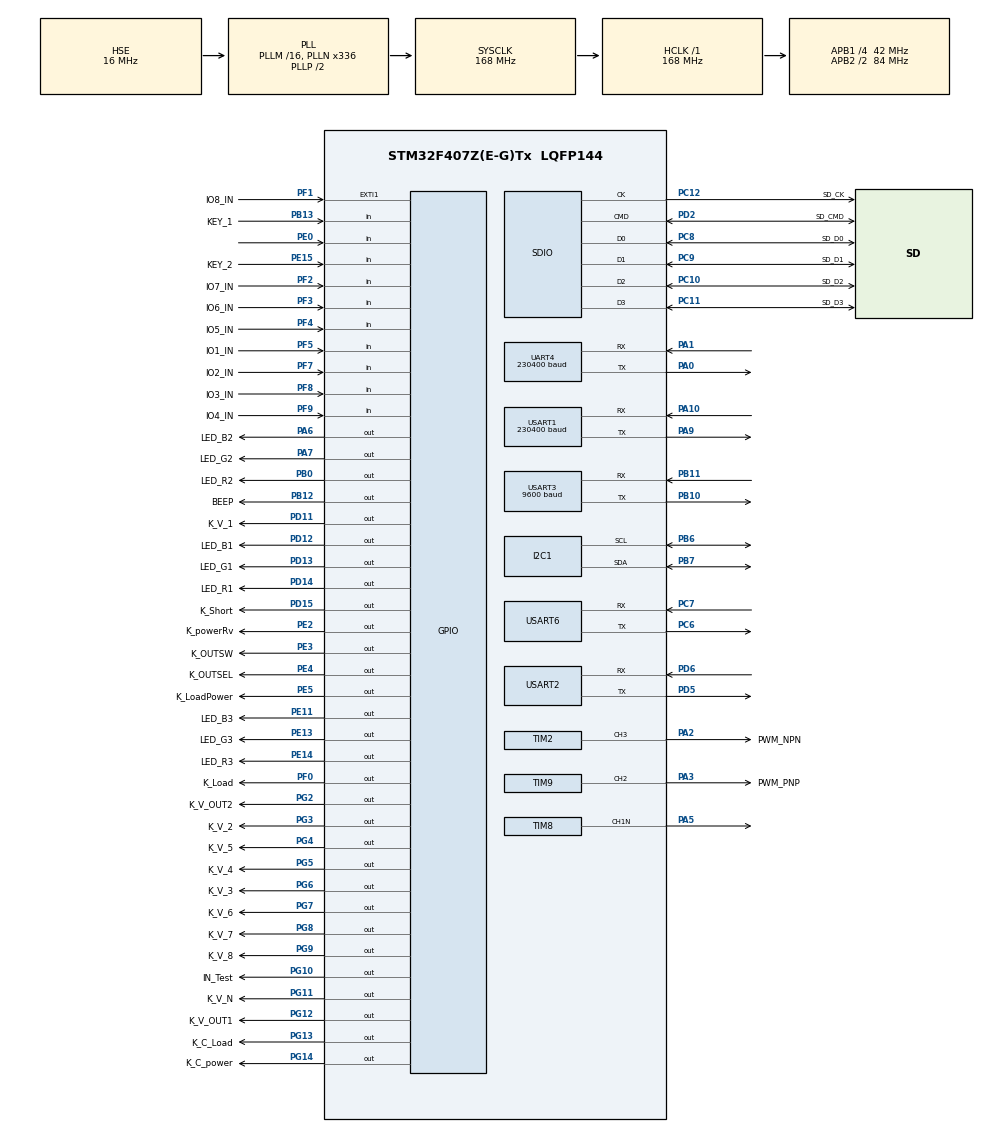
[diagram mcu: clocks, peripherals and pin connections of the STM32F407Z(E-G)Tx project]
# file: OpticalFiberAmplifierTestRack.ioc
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Dma.I2C1_RX.2.Direction=DMA_PERIPH_TO_MEMORY
Dma.I2C1_RX.2.FIFOMode=DMA_FIFOMODE_DISABLE
Dma.I2C1_RX.2.Instance=DMA1_Stream0
Dma.I2C1_RX.2.MemDataAlignment=DMA_MDATAALIGN_BYTE
Dma.I2C1_RX.2.MemInc=DMA_MINC_ENABLE
Dma.I2C1_RX.2.Mode=DMA_NORMAL
Dma.I2C1_RX.2.PeriphDataAlignment=DMA_PDATAALIGN_BYTE
Dma.I2C1_RX.2.PeriphInc=DMA_PINC_DISABLE
Dma.I2C1_RX.2.Priority=DMA_PRIORITY_LOW
Dma.I2C1_TX.3.Direction=DMA_MEMORY_TO_PERIPH
Dma.I2C1_TX.3.FIFOMode=DMA_FIFOMODE_DISABLE
Dma.I2C1_TX.3.Instance=DMA1_Stream7
Dma.I2C1_TX.3.MemDataAlignment=DMA_MDATAALIGN_BYTE
Dma.I2C1_TX.3.MemInc=DMA_MINC_ENABLE
Dma.I2C1_TX.3.Mode=DMA_NORMAL
Dma.I2C1_TX.3.PeriphDataAlignment=DMA_PDATAALIGN_BYTE
Dma.I2C1_TX.3.PeriphInc=DMA_PINC_DISABLE
Dma.I2C1_TX.3.Priority=DMA_PRIORITY_LOW
Dma.Request0=USART1_RX
Dma.Request1=USART1_TX
Dma.Request2=I2C1_RX
Dma.Request3=I2C1_TX
Dma.Request4=UART4_RX
Dma.Request5=UART4_TX
Dma.Request6=SDIO_RX
Dma.Request7=SDIO_TX
Dma.SDIO_RX.6.Direction=DMA_PERIPH_TO_MEMORY
Dma.SDIO_RX.6.FIFOMode=DMA_FIFOMODE_ENABLE
Dma.SDIO_RX.6.FIFOThreshold=DMA_FIFO_THRESHOLD_FULL
Dma.SDIO_RX.6.Instance=DMA2_Stream3
Dma.SDIO_RX.6.MemBurst=DMA_MBURST_INC4
Dma.SDIO_RX.6.MemDataAlignment=DMA_MDATAALIGN_WORD
Dma.SDIO_RX.6.MemInc=DMA_MINC_ENABLE
Dma.SDIO_RX.6.Mode=DMA_PFCTRL
Dma.SDIO_RX.6.PeriphBurst=DMA_PBURST_INC4
Dma.SDIO_RX.6.PeriphDataAlignment=DMA_PDATAALIGN_WORD
Dma.SDIO_RX.6.PeriphInc=DMA_PINC_DISABLE
Dma.SDIO_RX.6.Priority=DMA_PRIORITY_VERY_HIGH
Dma.SDIO_TX.7.Direction=DMA_MEMORY_TO_PERIPH
Dma.SDIO_TX.7.FIFOMode=DMA_FIFOMODE_ENABLE
Dma.SDIO_TX.7.FIFOThreshold=DMA_FIFO_THRESHOLD_FULL
Dma.SDIO_TX.7.Instance=DMA2_Stream6
Dma.SDIO_TX.7.MemBurst=DMA_MBURST_INC4
Dma.SDIO_TX.7.MemDataAlignment=DMA_MDATAALIGN_WORD
Dma.SDIO_TX.7.MemInc=DMA_MINC_ENABLE
Dma.SDIO_TX.7.Mode=DMA_PFCTRL
Dma.SDIO_TX.7.PeriphBurst=DMA_PBURST_INC4
Dma.SDIO_TX.7.PeriphDataAlignment=DMA_PDATAALIGN_WORD
Dma.SDIO_TX.7.PeriphInc=DMA_PINC_DISABLE
Dma.SDIO_TX.7.Priority=DMA_PRIORITY_VERY_HIGH
Dma.UART4_RX.4.Direction=DMA_PERIPH_TO_MEMORY
Dma.UART4_RX.4.FIFOMode=DMA_FIFOMODE_DISABLE
Dma.UART4_RX.4.Instance=DMA1_Stream2
Dma.UART4_RX.4.MemDataAlignment=DMA_MDATAALIGN_BYTE
Dma.UART4_RX.4.MemInc=DMA_MINC_ENABLE
Dma.UART4_RX.4.Mode=DMA_CIRCULAR
Dma.UART4_RX.4.PeriphDataAlignment=DMA_PDATAALIGN_BYTE
Dma.UART4_RX.4.PeriphInc=DMA_PINC_DISABLE
Dma.UART4_RX.4.Priority=DMA_PRIORITY_LOW
Dma.UART4_TX.5.Direction=DMA_MEMORY_TO_PERIPH
Dma.UART4_TX.5.FIFOMode=DMA_FIFOMODE_DISABLE
Dma.UART4_TX.5.Instance=DMA1_Stream4
Dma.UART4_TX.5.MemDataAlignment=DMA_MDATAALIGN_BYTE
Dma.UART4_TX.5.MemInc=DMA_MINC_ENABLE
Dma.UART4_TX.5.Mode=DMA_CIRCULAR
Dma.UART4_TX.5.PeriphDataAlignment=DMA_PDATAALIGN_BYTE
Dma.UART4_TX.5.PeriphInc=DMA_PINC_DISABLE
Dma.UART4_TX.5.Priority=DMA_PRIORITY_LOW
Dma.USART1_RX.0.Direction=DMA_PERIPH_TO_MEMORY
Dma.USART1_RX.0.FIFOMode=DMA_FIFOMODE_DISABLE
Dma.USART1_RX.0.Instance=DMA2_Stream2
Dma.USART1_RX.0.MemDataAlignment=DMA_MDATAALIGN_BYTE
Dma.USART1_RX.0.MemInc=DMA_MINC_ENABLE
Dma.USART1_RX.0.Mode=DMA_CIRCULAR
Dma.USART1_RX.0.PeriphDataAlignment=DMA_PDATAALIGN_BYTE
Dma.USART1_RX.0.PeriphInc=DMA_PINC_DISABLE
Dma.USART1_RX.0.Priority=DMA_PRIORITY_MEDIUM
Dma.USART1_TX.1.Direction=DMA_MEMORY_TO_PERIPH
Dma.USART1_TX.1.FIFOMode=DMA_FIFOMODE_DISABLE
Dma.USART1_TX.1.Instance=DMA2_Stream7
Dma.USART1_TX.1.MemDataAlignment=DMA_MDATAALIGN_BYTE
Dma.USART1_TX.1.MemInc=DMA_MINC_ENABLE
Dma.USART1_TX.1.Mode=DMA_CIRCULAR
Dma.USART1_TX.1.PeriphDataAlignment=DMA_PDATAALIGN_BYTE
Dma.USART1_TX.1.PeriphInc=DMA_PINC_DISABLE
Dma.USART1_TX.1.Priority=DMA_PRIORITY_MEDIUM
FATFS.BSP.number=1
FATFS._CODE_PAGE=936
FATFS0.BSP.STBoard=false
FATFS0.BSP.api=Unknown
FATFS0.BSP.i2caddr=0
FATFS0.BSP.instance=PE0
FATFS0.BSP.ip=GPIO
FATFS0.BSP.mode=Input
FATFS0.BSP.name=Detect_SDIO
FATFS0.BSP.solution=PE0
I2C1.I2C_Mode=I2C_Standard
Mcu.Family=STM32F4
Mcu.Name=STM32F407Z(E-G)Tx
Mcu.Package=LQFP144
NVIC.DMA1_Stream0_IRQn=true\:0\:0\:false\:false\:true\:false\:true\:true
NVIC.DMA1_Stream2_IRQn=true\:0\:0\:false\:false\:true\:false\:true\:true
NVIC.DMA1_Stream4_IRQn=true\:0\:0\:false\:false\:true\:false\:true\:true
NVIC.DMA1_Stream7_IRQn=true\:0\:0\:false\:false\:true\:false\:true\:true
NVIC.DMA2_Stream2_IRQn=true\:0\:0\:false\:false\:true\:false\:true\:true
NVIC.DMA2_Stream3_IRQn=true\:2\:0\:true\:false\:true\:false\:true\:true
NVIC.DMA2_Stream6_IRQn=true\:2\:0\:true\:false\:true\:false\:true\:true
NVIC.DMA2_Stream7_IRQn=true\:0\:0\:false\:false\:true\:false\:true\:true
NVIC.I2C1_ER_IRQn=true\:0\:0\:false\:false\:true\:true\:true\:true
NVIC.I2C1_EV_IRQn=true\:0\:0\:false\:false\:true\:true\:true\:true
NVIC.PriorityGroup=NVIC_PRIORITYGROUP_4
NVIC.SDIO_IRQn=true\:1\:0\:true\:false\:true\:true\:true\:true
NVIC.TIM1_BRK_TIM9_IRQn=true\:0\:0\:false\:false\:true\:true\:true\:true
NVIC.TIM2_IRQn=true\:0\:0\:false\:false\:true\:true\:true\:true
NVIC.TIM4_IRQn=true\:0\:0\:false\:false\:true\:true\:true\:true
NVIC.UART4_IRQn=true\:0\:0\:false\:false\:true\:true\:true\:true
NVIC.USART1_IRQn=true\:0\:0\:false\:false\:true\:true\:true\:true
NVIC.USART2_IRQn=true\:0\:0\:false\:false\:true\:true\:true\:true
NVIC.USART3_IRQn=true\:0\:0\:false\:false\:true\:true\:true\:true
NVIC.USART6_IRQn=true\:0\:0\:false\:false\:true\:true\:true\:true
PA0-WKUP.Mode=Asynchronous
PA0-WKUP.Signal=UART4_TX
PA1.Mode=Asynchronous
PA1.Signal=UART4_RX
PA10.Mode=Asynchronous
PA10.Signal=USART1_RX
PA13.Mode=Serial_Wire
PA13.Signal=SYS_JTMS-SWDIO
PA14.Mode=Serial_Wire
PA14.Signal=SYS_JTCK-SWCLK
PA2.GPIO_Label=PWM_NPN
PA2.Signal=S_TIM2_CH3
PA3.GPIO_Label=PWM_PNP
PA3.Signal=S_TIM9_CH2
PA5.Mode=PWM Generation1 CH1N
PA5.Signal=TIM8_CH1N
PA6.GPIO_Label=LED_B2
PA6.Signal=GPIO_Output
PA7.GPIO_Label=LED_G2
PA7.Signal=GPIO_Output
PA9.Mode=Asynchronous
PA9.Signal=USART1_TX
PB0.GPIO_Label=LED_R2
PB0.Signal=GPIO_Output
PB10.Mode=Asynchronous
PB10.Signal=USART3_TX
PB11.Mode=Asynchronous
PB11.Signal=USART3_RX
PB12.GPIO_Label=BEEP
PB12.Signal=GPIO_Output
PB13.GPIO_Label=KEY_1
PB13.GPIO_PuPd=GPIO_PULLUP
PB13.Signal=GPIO_Input
PB6.Mode=I2C
PB6.Signal=I2C1_SCL
PB7.Mode=I2C
PB7.Signal=I2C1_SDA
PC10.GPIO_Label=SD_D2
PC10.Mode=SD_4_bits_Wide_bus
PC10.Signal=SDIO_D2
PC11.GPIO_Label=SD_D3
PC11.Mode=SD_4_bits_Wide_bus
PC11.Signal=SDIO_D3
PC12.GPIO_Label=SD_CK
PC12.Mode=SD_4_bits_Wide_bus
PC12.Signal=SDIO_CK
PC6.Mode=Asynchronous
PC6.Signal=USART6_TX
PC7.Mode=Asynchronous
PC7.Signal=USART6_RX
PC8.GPIO_Label=SD_D0
PC8.Mode=SD_4_bits_Wide_bus
PC8.Signal=SDIO_D0
PC9.GPIO_Label=SD_D1
PC9.Mode=SD_4_bits_Wide_bus
PC9.Signal=SDIO_D1
PD11.GPIO_Label=K_V_1
PD11.Signal=GPIO_Output
PD12.GPIO_Label=LED_B1
PD12.Signal=GPIO_Output
PD13.GPIO_Label=LED_G1
PD13.Signal=GPIO_Output
PD14.GPIO_Label=LED_R1
PD14.Signal=GPIO_Output
PD15.GPIO_Label=K_Short
PD15.Signal=GPIO_Output
PD2.GPIO_Label=SD_CMD
PD2.Mode=SD_4_bits_Wide_bus
PD2.Signal=SDIO_CMD
PD5.Mode=Asynchronous
PD5.Signal=USART2_TX
PD6.Mode=Asynchronous
PD6.Signal=USART2_RX
PE0.Signal=GPIO_Input
PE11.GPIO_Label=LED_B3
PE11.Signal=GPIO_Output
PE13.GPIO_Label=LED_G3
PE13.Signal=GPIO_Output
PE14.GPIO_Label=LED_R3
PE14.Signal=GPIO_Output
PE15.GPIO_Label=KEY_2
PE15.GPIO_PuPd=GPIO_PULLUP
PE15.Signal=GPIO_Input
PE2.GPIO_Label=K_powerRv
PE2.Signal=GPIO_Output
PE3.GPIO_Label=K_OUTSW
PE3.Signal=GPIO_Output
PE4.GPIO_Label=K_OUTSEL
PE4.Signal=GPIO_Output
PE5.GPIO_Label=K_LoadPower
PE5.Signal=GPIO_Output
PF0.GPIO_Label=K_Load
PF0.Signal=GPIO_Output
PF1.GPIO_Label=IO8_IN
PF1.Signal=GPXTI1
PF2.GPIO_Label=IO7_IN
PF2.Signal=GPIO_Input
PF3.GPIO_Label=IO6_IN
PF3.Signal=GPIO_Input
PF4.GPIO_Label=IO5_IN
PF4.Signal=GPIO_Input
PF5.GPIO_Label=IO1_IN
PF5.Signal=GPIO_Input
PF7.GPIO_Label=IO2_IN
PF7.Signal=GPIO_Input
PF8.GPIO_Label=IO3_IN
PF8.Signal=GPIO_Input
PF9.GPIO_Label=IO4_IN
PF9.Signal=GPIO_Input
PG10.GPIO_Label=IN_Test
PG10.Signal=GPIO_Output
PG11.GPIO_Label=K_V_N
PG11.Signal=GPIO_Output
PG12.GPIO_Label=K_V_OUT1
PG12.Signal=GPIO_Output
PG13.GPIO_Label=K_C_Load
PG13.Signal=GPIO_Output
PG14.GPIO_Label=K_C_power
PG14.Signal=GPIO_Output
PG2.GPIO_Label=K_V_OUT2
PG2.Signal=GPIO_Output
PG3.GPIO_Label=K_V_2
PG3.Signal=GPIO_Output
PG4.GPIO_Label=K_V_5
PG4.Signal=GPIO_Output
PG5.GPIO_Label=K_V_4
PG5.Signal=GPIO_Output
PG6.GPIO_Label=K_V_3
PG6.Signal=GPIO_Output
PG7.GPIO_Label=K_V_6
PG7.Signal=GPIO_Output
PG8.GPIO_Label=K_V_7
PG8.Signal=GPIO_Output
PG9.GPIO_Label=K_V_8
PG9.Signal=GPIO_Output
PH0-OSC_IN.Mode=HSE-External-Oscillator
PH0-OSC_IN.Signal=RCC_OSC_IN
PH1-OSC_OUT.Mode=HSE-External-Oscillator
PH1-OSC_OUT.Signal=RCC_OSC_OUT
ProjectManager.HeapSize=0x200
ProjectManager.StackSize=0x10000
ProjectManager.TargetToolchain=MDK-ARM V5.32
RCC.48MHZClocksFreq_Value=48000000
RCC.AHBFreq_Value=168000000
RCC.APB1CLKDivider=RCC_HCLK_DIV4
RCC.APB1Freq_Value=42000000
RCC.APB1TimFreq_Value=84000000
RCC.APB2CLKDivider=RCC_HCLK_DIV2
RCC.APB2Freq_Value=84000000
RCC.APB2TimFreq_Value=168000000
RCC.CortexFreq_Value=168000000
RCC.HCLKFreq_Value=168000000
RCC.HSE_VALUE=16000000
RCC.HSI_VALUE=16000000
RCC.LSE_VALUE=32768
RCC.PLLN=336
RCC.PLLQ=7
RCC.PLLSourceVirtual=RCC_PLLSOURCE_HSE
RCC.SYSCLKFreq_VALUE=168000000
RCC.SYSCLKSource=RCC_SYSCLKSOURCE_PLLCLK
RCC.VCOOutputFreq_Value=336000000
SDIO.ClockDiv=0
SDIO.HardwareFlowControl=SDIO_HARDWARE_FLOW_CONTROL_DISABLE
SH.S_TIM2_CH3.0=TIM2_CH3,PWM Generation3 CH3
SH.S_TIM9_CH2.0=TIM9_CH2,PWM Generation2 CH2
TIM2.AutoReloadPreload=TIM_AUTORELOAD_PRELOAD_ENABLE
TIM2.Channel-PWM\ Generation3\ CH3=TIM_CHANNEL_3
TIM2.Period=42000
TIM2.Prescaler=1
TIM4.Channel-Output\ Compare4\ No\ Output=TIM_CHANNEL_4
TIM4.Period=10-1
TIM4.Prescaler=84-1
TIM8.Channel-PWM\ Generation1\ CH1N=TIM_CHANNEL_1
TIM8.Period=2000
TIM8.Prescaler=1680
TIM9.AutoReloadPreload=TIM_AUTORELOAD_PRELOAD_ENABLE
TIM9.Channel-PWM\ Generation2\ CH2=TIM_CHANNEL_2
TIM9.Period=42000
TIM9.Prescaler=3
UART4.BaudRate=230400
UART4.VirtualMode=Asynchronous
USART1.BaudRate=230400
USART1.VirtualMode=VM_ASYNC
USART2.VirtualMode=VM_ASYNC
USART3.BaudRate=9600
USART3.VirtualMode=VM_ASYNC
USART6.VirtualMode=VM_ASYNC
VP_FATFS_VS_SDIO.Mode=SDIO
VP_TIM2_VS_ClockSourceINT.Mode=Internal
VP_TIM4_VS_ClockSourceINT.Mode=Internal
VP_TIM4_VS_no_output4.Mode=Output Compare4 No Output
VP_TIM8_VS_ClockSourceINT.Mode=Internal
VP_TIM9_VS_ClockSourceINT.Mode=Internal
board=custom

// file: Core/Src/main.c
/* USER CODE BEGIN Header */
/**
  ******************************************************************************
  * @file           : main.c
  * @brief          : Main program body
  ******************************************************************************
  * @attention
  *
  * Copyright (c) 2022 STMicroelectronics.
  * All rights reserved.
  *
  * This software is licensed under terms that can be found in the LICENSE file
  * in the root directory of this software component.
  * If no LICENSE file comes with this software, it is provided AS-IS.
  *
  ******************************************************************************
  */
/* USER CODE END Header */
#include "main.h"
#include "dma.h"
#include "fatfs.h"
#include "i2c.h"
#include "sdio.h"
#include "tim.h"
#include "usart.h"
#include "gpio.h"

/* USER CODE BEGIN Includes */
#include "config.h"
#include "stdio.h"	//使用printf函数需引用的头文件
#include <string.h>
#include  <stdio.h>
#include <stdlib.h>
#include "uiPro.h"
#include "processing.h"
#include "SaveDATA.h"
#include "PeripheralConfi.h"
/* USER CODE END Includes */

/* USER CODE BEGIN PTD */
SYStickTimeType  SYS_tickTime;
USART_DataType USART_Data;
//DATA_storeType DATA_store;
comVariableBlockType comVariableBlock;
//DataBufType DataBuf_Idle;
//DataBufType DataBuf_Entity;
/* USER CODE END PTD */

/* USER CODE BEGIN PD */

unsigned char UART1_RX_BUF[RECEIVE_DATA_BUF_LEN_USART1];
unsigned char UART3_RX_BUF[RECEIVE_DATA_BUF_LEN_USART3];
unsigned char UART4_RX_BUF[RECEIVE_DATA_BUF_LEN_USART4];
unsigned char UART6_RX_BUF[RECEIVE_DATA_BUF_LEN_USART6];
//unsigned char string[30]={0};

/* USER CODE END PD */

void SystemClock_Config(void);

int main(void)
{
  /* USER CODE BEGIN 1 */
	VariableInitialization();
  /* USER CODE END 1 */

  /* MCU Configuration--------------------------------------------------------*/

  /* Reset of all peripherals, Initializes the Flash interface and the Systick. */
  HAL_Init();

  /* Configure the system clock */
  SystemClock_Config();

  /* USER CODE BEGIN SysInit */
//  MX_SDIO_SD_Init();
  /* USER CODE END SysInit */

  /* Initialize all configured peripherals */
  MX_GPIO_Init();
  MX_USART3_UART_Init();
  MX_USART6_UART_Init();
  MX_DMA_Init();
  MX_USART1_UART_Init();
  MX_USART2_UART_Init();
  MX_I2C1_Init();
  MX_TIM9_Init();
  MX_UART4_Init();
  MX_TIM2_Init();
  MX_SDIO_SD_Init();
  MX_FATFS_Init();
  MX_TIM8_Init();
  MX_TIM4_Init();
  /* USER CODE BEGIN 2 */
//  	PWR_PVD();

	HAL_UART_Receive_DMA(&UART_HANDLE_SCREEN, UART1_RX_BUF, RECEIVE_DATA_BUF_LEN_USART1);  // 启动DMA接收
	__HAL_UART_ENABLE_IT(&UART_HANDLE_SCREEN, UART_IT_IDLE);              // 使能空闲中断

	HAL_UART_Receive_IT(&UART_HANDLE_POWER,UART3_RX_BUF,RECEIVE_DATA_BUF_LEN_USART3);//开启接收
	__HAL_UART_ENABLE_IT(&UART_HANDLE_POWER, UART_IT_IDLE);              // 使能空闲中断

	HAL_UART_Receive_IT(&UART_HANDLE_MULTIMETER,UART6_RX_BUF,RECEIVE_DATA_BUF_LEN_USART6);//开启接收
	__HAL_UART_ENABLE_IT(&UART_HANDLE_MULTIMETER, UART_IT_IDLE);              // 使能空闲中断

	HAL_UART_Receive_DMA(&UART_HANDLE_SENSOR,UART4_RX_BUF,RECEIVE_DATA_BUF_LEN_USART4);//开启接收
	__HAL_UART_ENABLE_IT(&UART_HANDLE_SENSOR, UART_IT_IDLE);              // 使能空闲中断

	HAL_TIM_Base_Start_IT(&htim4);

//	for(int i=0; i<255;i++) //存储数据测试初始化
//	{
//		DATA_store.DATA_Transmit_eeprom[i]=i;
//
//	}
//	  	WriteData(&hi2c1);

//	 SaveData_EX();

	ReadData_EX();
	Motor = RANGE_PWM_MID;//范围84-99

	PWMSetCurrent(0,20);
	PWMSetCurrent(1,20);

	if(HAL_TIM_PWM_Start(&htim9,TIM_CHANNEL_2) != HAL_OK)
	{
		Error_Handler();
	}

	if(HAL_TIM_PWM_Start(&htim2,TIM_CHANNEL_3) != HAL_OK)
	{
		Error_Handler();
	}

	if(HAL_TIMEx_PWMN_Start(&htim8,TIM_CHANNEL_1) != HAL_OK)
	{
		Error_Handler();
	}
//	PeripheralInitStatus();
	HAL_Delay(1500);
	 POWER_UP();
  /* USER CODE END 2 */

  /* Infinite loop */
  while (1)
  {

    /* USER CODE BEGIN 3 */

	if(comVariableBlock.SaveDataFlag==1)
	{
		comVariableBlock.SaveDataFlag=0;
		SaveData_EX();
	}

	switch(USART_Data.USART1_Data.PageNum)
	{
		case page_main:
		{
			if(KEY_2  && SYS_tickTime.sys_sendTime_ms >= 1000)
			{
				SYS_tickTime.sys_sendTime_ms = 0;
				if(comVariableBlock.MeasureResults!=ResultsTesting)
				{
					comVariableBlock.StartDetecFlag=1;
				}
			}
			PageMain(&USART_Data,&comVariableBlock.StartDetecFlag);
			USART_Data.USART1_Data.PageNumChange = page_NNNNNNNO;
		}break;
		case page_CurConsume_T:
		{
			comVariableBlock.AutoSetOrManual=0;
			PageCurConsume_T(&USART_Data,&comVariableBlock.AutoSetOrManual);
		}break;
		case page_KV_T:
		{
			comVariableBlock.AutoSetOrManual=0;
			PageKeyVoltage_T(&USART_Data,&comVariableBlock.AutoSetOrManual);
		}break;
		case page_HL_T:
		{
			comVariableBlock.AutoSetOrManual=0;
			HighLowLoad(&USART_Data,&comVariableBlock.AutoSetOrManual);

		}break;

		case page_Setting:
		{
			comVariableBlock.AutoSetOrManual=0;
			Setting(&USART_Data,&comVariableBlock.AutoSetOrManual);
		}break;
		case page_Button:
		{
			comVariableBlock.AutoSetOrManual=0;
			ButtonCheck(&USART_Data,&comVariableBlock.AutoSetOrManual);
		}break;
		case page_Data:
		{

		}break;
		case page_Calibration:
		{
			comVariableBlock.AutoSetOrManual=0;
			Calibration(&USART_Data,&comVariableBlock.AutoSetOrManual);
		}break;
		case page_NNNNNNNO:
		{

		}break;
	}
  }
  /* USER CODE END 3 */
}

void SystemClock_Config(void)
{
  RCC_OscInitTypeDef RCC_OscInitStruct = {0};
  RCC_ClkInitTypeDef RCC_ClkInitStruct = {0};

  /** Configure the main internal regulator output voltage
  */
  __HAL_RCC_PWR_CLK_ENABLE();
  __HAL_PWR_VOLTAGESCALING_CONFIG(PWR_REGULATOR_VOLTAGE_SCALE1);

  /** Initializes the RCC Oscillators according to the specified parameters
  * in the RCC_OscInitTypeDef structure.
  */
  RCC_OscInitStruct.OscillatorType = RCC_OSCILLATORTYPE_HSE;
  RCC_OscInitStruct.HSEState = RCC_HSE_ON;
  RCC_OscInitStruct.PLL.PLLState = RCC_PLL_ON;
  RCC_OscInitStruct.PLL.PLLSource = RCC_PLLSOURCE_HSE;
  RCC_OscInitStruct.PLL.PLLM = 16;
  RCC_OscInitStruct.PLL.PLLN = 336;
  RCC_OscInitStruct.PLL.PLLP = RCC_PLLP_DIV2;
  RCC_OscInitStruct.PLL.PLLQ = 7;
  if (HAL_RCC_OscConfig(&RCC_OscInitStruct) != HAL_OK)
  {
    Error_Handler();
  }

  /** Initializes the CPU, AHB and APB buses clocks
  */
  RCC_ClkInitStruct.ClockType = RCC_CLOCKTYPE_HCLK|RCC_CLOCKTYPE_SYSCLK
                              |RCC_CLOCKTYPE_PCLK1|RCC_CLOCKTYPE_PCLK2;
  RCC_ClkInitStruct.SYSCLKSource = RCC_SYSCLKSOURCE_PLLCLK;
  RCC_ClkInitStruct.AHBCLKDivider = RCC_SYSCLK_DIV1;
  RCC_ClkInitStruct.APB1CLKDivider = RCC_HCLK_DIV4;
  RCC_ClkInitStruct.APB2CLKDivider = RCC_HCLK_DIV2;

  if (HAL_RCC_ClockConfig(&RCC_ClkInitStruct, FLASH_LATENCY_5) != HAL_OK)
  {
    Error_Handler();
  }
}

void Error_Handler(void)
{
  __disable_irq();
  while (1)
  {
  }
}
